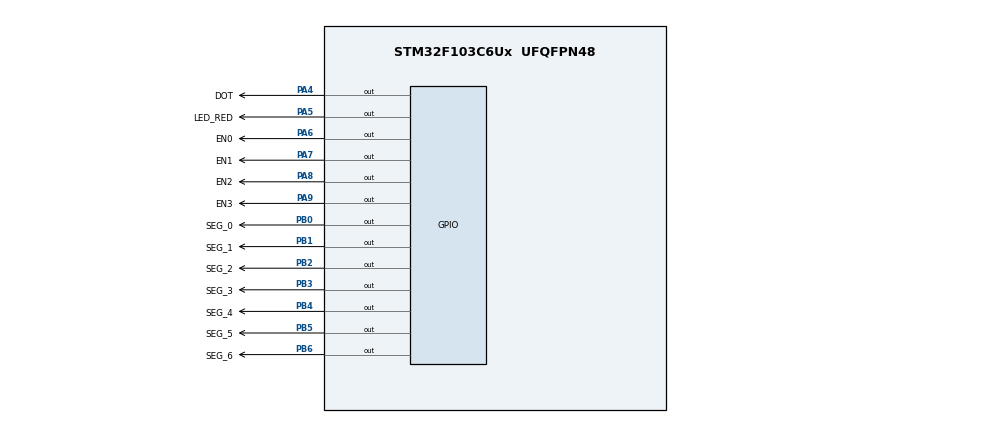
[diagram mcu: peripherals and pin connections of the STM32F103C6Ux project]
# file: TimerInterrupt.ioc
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Mcu.Family=STM32F1
Mcu.Name=STM32F103C6Ux
Mcu.Package=UFQFPN48
NVIC.PriorityGroup=NVIC_PRIORITYGROUP_4
NVIC.TIM2_IRQn=true\:0\:0\:false\:false\:true\:true\:true
PA4.GPIO_Label=DOT
PA4.Signal=GPIO_Output
PA5.GPIO_Label=LED_RED
PA5.Signal=GPIO_Output
PA6.GPIO_Label=EN0
PA6.Signal=GPIO_Output
PA7.GPIO_Label=EN1
PA7.Signal=GPIO_Output
PA8.GPIO_Label=EN2
PA8.Signal=GPIO_Output
PA9.GPIO_Label=EN3
PA9.Signal=GPIO_Output
PB0.GPIO_Label=SEG_0
PB0.Signal=GPIO_Output
PB1.GPIO_Label=SEG_1
PB1.Signal=GPIO_Output
PB2.GPIO_Label=SEG_2
PB2.Signal=GPIO_Output
PB3.GPIO_Label=SEG_3
PB3.Signal=GPIO_Output
PB4.GPIO_Label=SEG_4
PB4.Signal=GPIO_Output
PB5.GPIO_Label=SEG_5
PB5.Signal=GPIO_Output
PB6.GPIO_Label=SEG_6
PB6.Signal=GPIO_Output
ProjectManager.HeapSize=0x200
ProjectManager.StackSize=0x400
ProjectManager.TargetToolchain=STM32CubeIDE
RCC.APB1Freq_Value=8000000
RCC.APB2Freq_Value=8000000
TIM2.Period=9
TIM2.Prescaler=7999
VP_SYS_VS_ND.Mode=No_Debug
VP_TIM2_VS_ClockSourceINT.Mode=Internal
board=custom

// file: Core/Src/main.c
/* USER CODE BEGIN Header */
/**
  ******************************************************************************
  * @file           : main.c
  * @brief          : Main program body
  ******************************************************************************
  * @attention
  *
  * <h2><center>&copy; Copyright (c) 2024 STMicroelectronics.
  * All rights reserved.</center></h2>
  *
  * This software component is licensed by ST under BSD 3-Clause license,
  * the "License"; You may not use this file except in compliance with the
  * License. You may obtain a copy of the License at:
  *                        opensource.org/licenses/BSD-3-Clause
  *
  ******************************************************************************
  */
/* USER CODE END Header */
#include "main.h"

/* USER CODE BEGIN Includes */
#include "timerSoftware.h"
#include "7segmentsLed.h"
#include "update7seg.h"
/* USER CODE END Includes */

TIM_HandleTypeDef htim2;

void SystemClock_Config(void);
static void MX_GPIO_Init(void);
static void MX_TIM2_Init(void);

int main(void)
{

  /* MCU Configuration--------------------------------------------------------*/

  /* Reset of all peripherals, Initializes the Flash interface and the Systick. */
  HAL_Init();

  /* Configure the system clock */
  SystemClock_Config();

  /* Initialize all configured peripherals */
  MX_GPIO_Init();
  MX_TIM2_Init();
  /* USER CODE BEGIN 2 */
  HAL_TIM_Base_Start_IT(&htim2);
  /* USER CODE END 2 */

  /* Infinite loop */
  /* USER CODE BEGIN WHILE */
  setTimer1(500);
//  setTimerForFirst7SegLed(50);
//  setTimerForSecond7SegLed(50);
//  setTimerForThird7SegLed(50);
//  setTimerForThird7SegLed(50);
  setTimerForDot(100);
  setTimerFor7SegLed(25);

  int hour = 15, minute = 59, second = 50;
  updateClockBuffer(hour, minute);
  setTimerForClock(100);
  while (1)
  {
	  if (timer1_flag == 1) {
		  setTimer1(500);
		  //TODO
		  HAL_GPIO_TogglePin(LED_RED_GPIO_Port, LED_RED_Pin);
	  }

	  if (clock_flag == 1) {
		  setTimerForClock(100);
		  //TODO
		  second++;
		  if (second >= 60) {
			  second = 0;
			  minute = minute + 1;
		  }
		  if (minute >= 60) {
			  minute = 0;
			  hour = hour + 1;
		  }
		  if (hour >= 24) {
			  hour = 0;
		  }
		  updateClockBuffer(hour, minute);
	  }

	  if (segmentsLed_flag == 1) {
		  setTimerFor7SegLed(25);
		  //TODO
		  if (index_led >= MAX_LED) {
			  index_led = 0;
		  }
		  update7SEG(index_led++);
	  }

	  if (dot_flag == 1) {
		  setTimerForDot(100);
		  //TODO
		  HAL_GPIO_TogglePin(DOT_GPIO_Port, DOT_Pin);
	  }

    /* USER CODE END WHILE */

  }
}

void SystemClock_Config(void)
{
  RCC_OscInitTypeDef RCC_OscInitStruct = {0};
  RCC_ClkInitTypeDef RCC_ClkInitStruct = {0};

  /** Initializes the RCC Oscillators according to the specified parameters
  * in the RCC_OscInitTypeDef structure.
  */
  RCC_OscInitStruct.OscillatorType = RCC_OSCILLATORTYPE_HSI;
  RCC_OscInitStruct.HSIState = RCC_HSI_ON;
  RCC_OscInitStruct.HSICalibrationValue = RCC_HSICALIBRATION_DEFAULT;
  RCC_OscInitStruct.PLL.PLLState = RCC_PLL_NONE;
  if (HAL_RCC_OscConfig(&RCC_OscInitStruct) != HAL_OK)
  {
    Error_Handler();
  }
  /** Initializes the CPU, AHB and APB buses clocks
  */
  RCC_ClkInitStruct.ClockType = RCC_CLOCKTYPE_HCLK|RCC_CLOCKTYPE_SYSCLK
                              |RCC_CLOCKTYPE_PCLK1|RCC_CLOCKTYPE_PCLK2;
  RCC_ClkInitStruct.SYSCLKSource = RCC_SYSCLKSOURCE_HSI;
  RCC_ClkInitStruct.AHBCLKDivider = RCC_SYSCLK_DIV1;
  RCC_ClkInitStruct.APB1CLKDivider = RCC_HCLK_DIV1;
  RCC_ClkInitStruct.APB2CLKDivider = RCC_HCLK_DIV1;

  if (HAL_RCC_ClockConfig(&RCC_ClkInitStruct, FLASH_LATENCY_0) != HAL_OK)
  {
    Error_Handler();
  }
}

static void MX_TIM2_Init(void)
{

  TIM_ClockConfigTypeDef sClockSourceConfig = {0};
  TIM_MasterConfigTypeDef sMasterConfig = {0};

  htim2.Instance = TIM2;
  htim2.Init.Prescaler = 7999;
  htim2.Init.CounterMode = TIM_COUNTERMODE_UP;
  htim2.Init.Period = 9;
  htim2.Init.ClockDivision = TIM_CLOCKDIVISION_DIV1;
  htim2.Init.AutoReloadPreload = TIM_AUTORELOAD_PRELOAD_DISABLE;
  if (HAL_TIM_Base_Init(&htim2) != HAL_OK)
  {
    Error_Handler();
  }
  sClockSourceConfig.ClockSource = TIM_CLOCKSOURCE_INTERNAL;
  if (HAL_TIM_ConfigClockSource(&htim2, &sClockSourceConfig) != HAL_OK)
  {
    Error_Handler();
  }
  sMasterConfig.MasterOutputTrigger = TIM_TRGO_RESET;
  sMasterConfig.MasterSlaveMode = TIM_MASTERSLAVEMODE_DISABLE;
  if (HAL_TIMEx_MasterConfigSynchronization(&htim2, &sMasterConfig) != HAL_OK)
  {
    Error_Handler();
  }

}

static void MX_GPIO_Init(void)
{
  GPIO_InitTypeDef GPIO_InitStruct = {0};

  /* GPIO Ports Clock Enable */
  __HAL_RCC_GPIOA_CLK_ENABLE();
  __HAL_RCC_GPIOB_CLK_ENABLE();

  /*Configure GPIO pin Output Level */
  HAL_GPIO_WritePin(GPIOA, DOT_Pin|LED_RED_Pin|EN0_Pin|EN1_Pin
                          |EN2_Pin|EN3_Pin, GPIO_PIN_RESET);

  /*Configure GPIO pin Output Level */
  HAL_GPIO_WritePin(GPIOB, SEG_0_Pin|SEG_1_Pin|SEG_2_Pin|SEG_3_Pin
                          |SEG_4_Pin|SEG_5_Pin|SEG_6_Pin, GPIO_PIN_RESET);

  /*Configure GPIO pins : DOT_Pin LED_RED_Pin EN0_Pin EN1_Pin
                           EN2_Pin EN3_Pin */
  GPIO_InitStruct.Pin = DOT_Pin|LED_RED_Pin|EN0_Pin|EN1_Pin
                          |EN2_Pin|EN3_Pin;
  GPIO_InitStruct.Mode = GPIO_MODE_OUTPUT_PP;
  GPIO_InitStruct.Pull = GPIO_NOPULL;
  GPIO_InitStruct.Speed = GPIO_SPEED_FREQ_LOW;
  HAL_GPIO_Init(GPIOA, &GPIO_InitStruct);

  /*Configure GPIO pins : SEG_0_Pin SEG_1_Pin SEG_2_Pin SEG_3_Pin
                           SEG_4_Pin SEG_5_Pin SEG_6_Pin */
  GPIO_InitStruct.Pin = SEG_0_Pin|SEG_1_Pin|SEG_2_Pin|SEG_3_Pin
                          |SEG_4_Pin|SEG_5_Pin|SEG_6_Pin;
  GPIO_InitStruct.Mode = GPIO_MODE_OUTPUT_PP;
  GPIO_InitStruct.Pull = GPIO_NOPULL;
  GPIO_InitStruct.Speed = GPIO_SPEED_FREQ_LOW;
  HAL_GPIO_Init(GPIOB, &GPIO_InitStruct);

}

/* USER CODE BEGIN 4 */
//int counter = 500;
void HAL_TIM_PeriodElapsedCallback(TIM_HandleTypeDef *htim) {
//	if (counter > 0) {
//		counter--;
//		if (counter <= 0) {
//			counter = 500;
//			HAL_GPIO_TogglePin(LED_RED_GPIO_Port, LED_RED_Pin);
//		}
//	}

	timerRun();
}
/* USER CODE END 4 */

void Error_Handler(void)
{
  __disable_irq();
  while (1)
  {
  }
}

/************************ (C) COPYRIGHT STMicroelectronics *****END OF FILE****/
